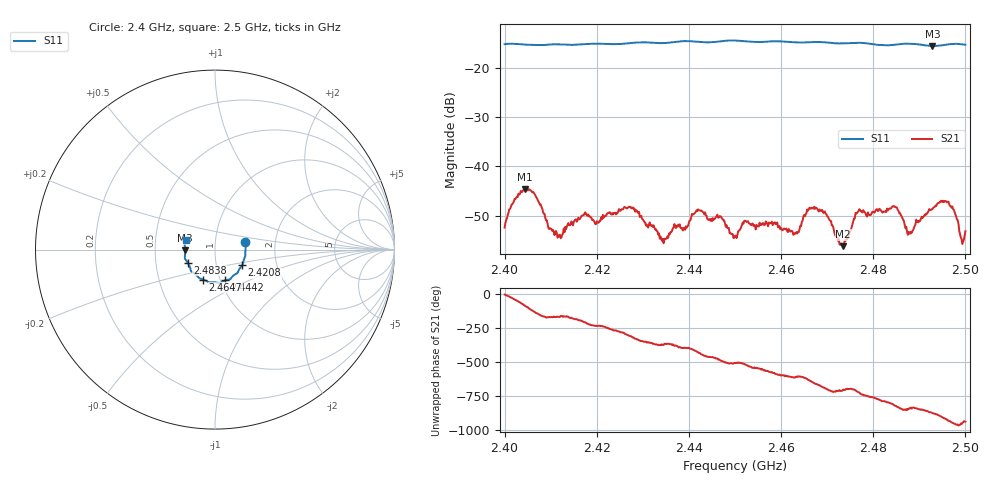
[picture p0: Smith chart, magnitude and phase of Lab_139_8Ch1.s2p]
# Hz S RI R 50
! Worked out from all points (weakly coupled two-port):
!   601 points, 2.4 GHz to 2.5 GHz, reference 50 ohm
!   highest |S21| = -44.63 dB at 2.4043 GHz (marker M1); lowest = -56.2 dB at 2.4735 GHz (marker M2)
!   lowest |S11| = -15.6 dB at 2.4928 GHz (marker M3), VSWR 1.40, Z = 35.8 - j0.367 ohm
!   |S11| at or under -10 dB: start of sweep to end of sweep
!   S12 and S22 are empty: the file has one direction only
!   S11 on the Smith chart (normalised r, x): 2.4 GHz: 1.40, +0.12; 2.4208 GHz: 1.33, -0.24; 2.4442 GHz: 1.05, -0.37; 2.4647 GHz: 0.83, -0.29; 2.4838 GHz: 0.73, -0.11; 2.5 GHz: 0.72, +0.08
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2.4e9  0.168 0.0407  0.00238 -8.02e-05  0 0  0 0
2.404333e9  0.1705 0.0151  0.000879 -0.0058  0 0  0 0
2.411833e9  0.1681 -0.0377  -0.0019 -0.000427  0 0  0 0
2.416667e9  0.1586 -0.0682  -0.00304 0.000775  0 0  0 0
2.420833e9  0.151 -0.0875  -0.00161 0.00231  0 0  0 0
2.427333e9  0.1296 -0.121  0.00246 0.003  0 0  0 0
2.433333e9  0.1081 -0.1401  0.00197 -0.000485  0 0  0 0
2.442e9  0.0723 -0.1674  0.00128 -0.00342  0 0  0 0
2.444167e9  0.0567 -0.171  -0.000579 -0.00281  0 0  0 0
2.45e9  0.0245 -0.1865  -0.00167 -0.00105  0 0  0 0
2.452333e9  0.0136 -0.1844  -0.00261 -0.000977  0 0  0 0
2.463167e9  -0.0555 -0.1715  -0.00072 0.00194  0 0  0 0
2.464667e9  -0.0673 -0.1667  -0.000967 0.00263  0 0  0 0
2.466667e9  -0.0802 -0.1625  0.00102 0.00365  0 0  0 0
2.4735e9  -0.1114 -0.1363  0.00148 0.000441  0 0  0 0
2.476667e9  -0.1307 -0.1211  0.00345 -1.55e-05  0 0  0 0
2.483333e9  -0.1504 -0.0762  0.00077 -0.00358  0 0  0 0
2.483833e9  -0.1529 -0.0719  0.00033 -0.0037  0 0  0 0
2.487833e9  -0.1678 -0.0486  -0.00107 -0.00183  0 0  0 0
2.492833e9  -0.1655 -0.00499  -0.00335 -0.00148  0 0  0 0
2.496e9  -0.1691 0.0258  -0.00395 0.00171  0 0  0 0
2.5e9  -0.1625 0.0526  -0.00169 0.0014  0 0  0 0
